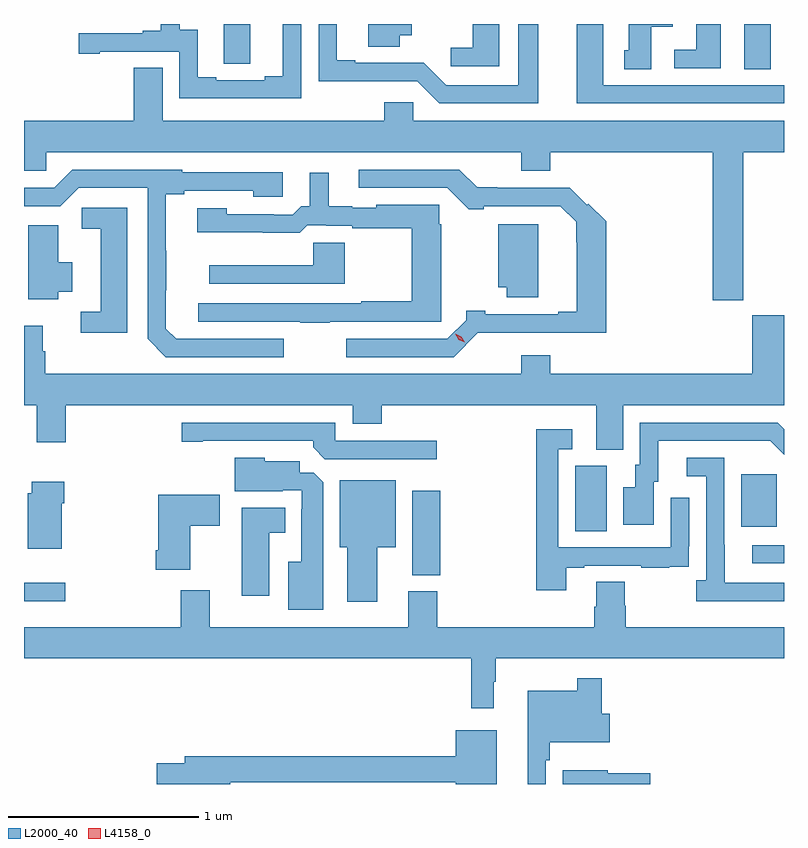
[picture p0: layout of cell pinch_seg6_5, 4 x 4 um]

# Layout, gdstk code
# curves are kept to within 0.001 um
import gdstk
lib = gdstk.Library(unit=1e-6, precision=1e-09)
def R(c, l, rs):  # rectangles x0, y0, x1, y1
    for r in rs: c.add(gdstk.rectangle(r[:2], r[2:], *l))
def P(c, l, *ps):  # polygons
    for p in ps: c.add(gdstk.Polygon(p, *l))
L2000_40 = (2000, 40)
L4158_0 = (4158, 0)

pinch_seg6_5 = lib.new_cell('pinch_seg6_5')
R(pinch_seg6_5, L2000_40, [(1129.672,994.256,1129.888,994.353), (1131.716,994.393,1131.863,994.837), (1133.505,994.455,1133.672,994.551), (1132.574,994.624,1132.738,994.968), (1133.447,994.649,1133.635,994.924), (1133.462,997.057,1133.602,997.294)])
P(pinch_seg6_5, L2000_40, [(1132.174,997.294),(1132.034,997.294),(1132.034,997.168),(1131.918,997.168),(1131.918,997.071),(1132.174,997.071)],
  [(1131.649,997.235),(1131.712,997.235),(1131.712,997.294),(1131.485,997.294),(1131.485,997.174),(1131.649,997.174)],
  [(1132.378,997.294),(1132.274,997.294),(1132.274,996.972),(1131.894,996.972),(1131.776,997.09),(1131.415,997.089),(1131.415,997.102),(1131.319,997.102),(1131.319,997.294),(1131.222,997.294),(1131.222,996.992),(1131.741,996.993),(1131.858,996.876),(1132.378,996.876)],
  [(1131.132,997.294),(1131.035,997.294),(1131.035,997.019),(1130.939,997.019),(1130.939,996.999),(1130.683,996.999),(1130.683,997.014),(1130.587,997.014),(1130.587,997.265),(1130.493,997.265),(1130.493,997.294),(1130.393,997.294),(1130.393,997.258),(1130.297,997.258),(1130.297,997.245),(1129.959,997.245),(1129.959,997.137),(1130.071,997.137),(1130.071,997.149),(1130.49,997.149),(1130.49,996.903),(1131.132,996.903)],
  [(1130.863,997.294),(1130.723,997.294),(1130.723,997.192),(1130.724,997.192),(1130.724,997.084),(1130.863,997.084)],
  [(1133.338,997.294),(1133.21,997.294),(1133.21,997.158),(1133.094,997.158),(1133.094,997.062),(1133.338,997.062)],
  [(1133.672,996.972),(1132.72,996.972),(1132.72,997.294),(1132.58,997.294),(1132.58,996.876),(1133.672,996.876)],
  [(1132.972,997.28),(1133.086,997.28),(1133.086,997.294),(1132.856,997.294),(1132.856,997.155),(1132.832,997.155),(1132.832,997.057),(1132.972,997.057)],
  [(1133.457,996.62),(1133.672,996.62),(1133.672,996.784),(1131.72,996.784),(1131.72,996.882),(1131.569,996.882),(1131.569,996.784),(1130.401,996.784),(1130.401,997.064),(1130.249,997.064),(1130.249,996.784),(1129.672,996.784),(1129.672,996.522),(1129.788,996.522),(1129.788,996.62),(1132.289,996.62),(1132.289,996.521),(1132.442,996.521),(1132.442,996.62),(1133.297,996.62),(1133.297,995.841),(1133.457,995.841)],
  [(1131.04,995.637),(1130.472,995.637),(1130.419,995.69),(1130.419,995.894),(1130.421,995.894),(1130.421,996.101),(1130.419,996.101),(1130.419,996.397),(1130.515,996.397),(1130.515,996.417),(1130.878,996.417),(1130.878,996.386),(1131.034,996.386),(1131.034,996.513),(1130.505,996.513),(1130.505,996.528),(1129.926,996.528),(1129.83,996.432),(1129.672,996.432),(1129.672,996.336),(1129.863,996.336),(1129.959,996.432),(1130.322,996.432),(1130.322,995.637),(1130.418,995.541),(1131.04,995.541)],
  [(1132.061,995.669),(1132.736,995.67),(1132.736,996.255),(1132.642,996.349),(1132.635,996.342),(1132.545,996.432),(1132.162,996.432),(1132.162,996.434),(1132.058,996.434),(1131.963,996.528),(1131.435,996.528),(1131.435,996.432),(1131.9,996.432),(1132.012,996.32),(1132.093,996.32),(1132.093,996.336),(1132.494,996.336),(1132.578,996.253),(1132.578,996.146),(1132.58,996.146),(1132.58,995.779),(1132.484,995.779),(1132.484,995.766),(1132.099,995.766),(1132.099,995.786),(1131.999,995.786),(1131.999,995.736),(1131.9,995.637),(1131.369,995.637),(1131.369,995.541),(1131.933,995.541)],
  [(1131.281,995.727),(1131.867,995.727),(1131.867,996.239),(1131.858,996.239),(1131.858,996.343),(1131.525,996.343),(1131.525,996.327),(1131.399,996.327),(1131.399,996.335),(1131.277,996.335),(1131.277,996.511),(1131.176,996.511),(1131.176,996.335),(1131.131,996.335),(1131.087,996.291),(1130.987,996.291),(1130.987,996.294),(1130.739,996.294),(1130.739,996.325),(1130.583,996.325),(1130.583,996.197),(1130.929,996.197),(1130.929,996.195),(1131.123,996.195),(1131.162,996.234),(1131.262,996.234),(1131.262,996.231),(1131.399,996.231),(1131.399,996.219),(1131.712,996.219),(1131.712,995.836),(1131.448,995.836),(1131.448,995.823),(1130.589,995.823),(1130.589,995.727),(1131.127,995.727),(1131.127,995.722),(1131.281,995.722)],
  [(1130.215,996.326),(1129.977,996.326),(1129.977,996.217),(1130.075,996.217),(1130.075,995.779),(1129.971,995.779),(1129.971,995.669),(1130.215,995.669)],
  [(1132.378,996.241),(1132.169,996.241),(1132.169,995.909),(1132.213,995.909),(1132.213,995.856),(1132.378,995.856)],
  [(1129.852,995.884),(1129.927,995.884),(1129.927,996.039),(1129.852,996.039),(1129.852,996.235),(1129.694,996.235),(1129.694,995.846),(1129.852,995.846)],
  [(1131.36,996.142),(1131.194,996.142),(1131.194,996.025),(1130.646,996.025),(1130.646,995.928),(1131.36,995.928)],
  [(1132.825,995.288),(1133.672,995.288),(1133.672,995.761),(1133.504,995.761),(1133.504,995.452),(1132.442,995.452),(1132.442,995.551),(1132.289,995.551),(1132.289,995.452),(1129.784,995.452),(1129.784,995.571),(1129.771,995.571),(1129.771,995.707),(1129.672,995.707),(1129.672,995.288),(1129.739,995.288),(1129.739,995.094),(1129.892,995.094),(1129.892,995.288),(1131.401,995.288),(1131.401,995.189),(1131.554,995.189),(1131.554,995.288),(1132.685,995.288),(1132.685,995.053),(1132.825,995.053)],
  [(1132.987,994.884),(1133.011,994.884),(1133.011,995.1),(1133.599,995.1),(1133.672,995.026),(1133.672,995.162),(1133.638,995.196),(1132.914,995.196),(1132.914,994.974),(1132.889,994.974),(1132.889,994.855),(1132.826,994.855),(1132.826,994.659),(1132.987,994.659)],
  [(1131.844,995.1),(1131.309,995.1),(1131.309,995.196),(1130.502,995.196),(1130.502,995.095),(1130.614,995.095),(1130.614,995.1),(1131.194,995.1),(1131.194,995.066),(1131.255,995.004),(1131.844,995.004)],
  [(1132.525,994.431),(1132.621,994.431),(1132.621,994.443),(1132.921,994.443),(1132.921,994.431),(1133.069,994.431),(1133.069,994.437),(1133.171,994.437),(1133.171,994.546),(1133.172,994.546),(1133.172,994.801),(1133.076,994.801),(1133.076,994.539),(1132.485,994.539),(1132.485,995.055),(1132.558,995.055),(1132.558,995.161),(1132.369,995.161),(1132.369,994.314),(1132.525,994.314)],
  [(1131.247,994.883),(1131.198,994.932),(1131.124,994.932),(1131.124,994.993),(1130.94,994.993),(1130.94,995.011),(1130.78,995.011),(1130.78,994.835),(1131.035,994.835),(1131.035,994.839),(1131.135,994.839),(1131.135,994.739),(1131.131,994.739),(1131.131,994.465),(1131.062,994.465),(1131.062,994.211),(1131.247,994.211)],
  [(1133.672,994.353),(1133.359,994.353),(1133.359,994.553),(1133.358,994.553),(1133.358,995.01),(1133.16,995.01),(1133.16,994.914),(1133.262,994.914),(1133.262,994.366),(1133.211,994.366),(1133.211,994.256),(1133.672,994.256)],
  [(1131.532,994.541),(1131.628,994.541),(1131.628,994.894),(1131.335,994.894),(1131.335,994.541),(1131.374,994.541),(1131.374,994.254),(1131.532,994.254)],
  [(1129.87,994.772),(1129.883,994.772),(1129.883,994.885),(1129.712,994.885),(1129.712,994.824),(1129.691,994.824),(1129.691,994.532),(1129.87,994.532)],
  [(1130.548,994.654),(1130.701,994.654),(1130.701,994.816),(1130.378,994.816),(1130.378,994.525),(1130.366,994.525),(1130.366,994.421),(1130.548,994.421)],
  [(1130.962,994.616),(1131.046,994.616),(1131.046,994.747),(1130.819,994.747),(1130.819,994.284),(1130.962,994.284)],
  [(1132.144,993.833),(1132.156,993.833),(1132.156,993.956),(1133.672,993.956),(1133.672,994.12),(1132.838,994.12),(1132.838,994.233),(1132.833,994.233),(1132.833,994.358),(1132.685,994.358),(1132.685,994.226),(1132.673,994.226),(1132.673,994.12),(1131.848,994.12),(1131.848,994.308),(1131.695,994.308),(1131.695,994.12),(1130.65,994.12),(1130.65,994.315),(1130.498,994.315),(1130.498,994.12),(1129.672,994.12),(1129.672,993.956),(1132.027,993.956),(1132.027,993.693),(1132.144,993.693)],
  [(1132.419,993.419),(1132.439,993.419),(1132.439,993.515),(1132.756,993.515),(1132.756,993.663),(1132.712,993.663),(1132.712,993.85),(1132.584,993.85),(1132.584,993.784),(1132.322,993.784),(1132.322,993.294),(1132.419,993.294)],
  [(1130.758,993.304),(1131.944,993.304),(1131.944,993.294),(1132.159,993.294),(1132.159,993.577),(1131.944,993.577),(1131.944,993.44),(1130.519,993.44),(1130.519,993.404),(1130.37,993.404),(1130.37,993.294),(1130.758,993.294)],
  [(1132.969,993.35),(1132.744,993.35),(1132.744,993.367),(1132.508,993.367),(1132.508,993.294),(1132.969,993.294)])
P(pinch_seg6_5, L4158_0, [(1131.991,995.618),(1131.959,995.633),(1131.942,995.663),(1131.942,995.664),(1131.942,995.664),(1131.973,995.648),(1131.991,995.618),(1131.991,995.618)])

lib.write_gds('pinch_seg6_5.gds')
